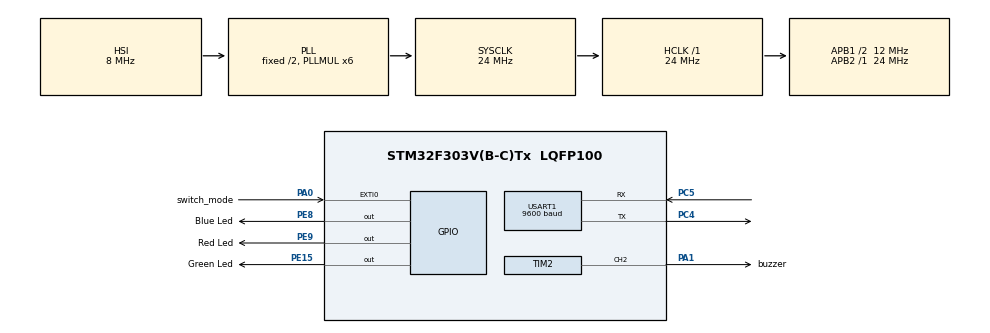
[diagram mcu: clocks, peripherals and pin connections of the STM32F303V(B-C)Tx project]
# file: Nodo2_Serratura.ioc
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Dma.Request0=USART1_RX
Dma.USART1_RX.0.Direction=DMA_PERIPH_TO_MEMORY
Dma.USART1_RX.0.Instance=DMA1_Channel5
Dma.USART1_RX.0.MemDataAlignment=DMA_MDATAALIGN_BYTE
Dma.USART1_RX.0.MemInc=DMA_MINC_ENABLE
Dma.USART1_RX.0.Mode=DMA_NORMAL
Dma.USART1_RX.0.PeriphDataAlignment=DMA_PDATAALIGN_BYTE
Dma.USART1_RX.0.PeriphInc=DMA_PINC_DISABLE
Dma.USART1_RX.0.Priority=DMA_PRIORITY_LOW
Mcu.Family=STM32F3
Mcu.Name=STM32F303V(B-C)Tx
Mcu.Package=LQFP100
NVIC.DMA1_Channel5_IRQn=true\:5\:0\:true\:false\:true\:false\:true\:true
NVIC.EXTI0_IRQn=true\:0\:0\:false\:false\:true\:true\:true\:true
NVIC.PriorityGroup=NVIC_PRIORITYGROUP_4
NVIC.USART1_IRQn=true\:5\:0\:true\:false\:true\:true\:true\:true
PA0.GPIO_Label=switch_mode
PA0.Signal=GPXTI0
PA1.GPIO_Label=buzzer
PA1.Signal=S_TIM2_CH2
PC4.Mode=Asynchronous
PC4.Signal=USART1_TX
PC5.Mode=Asynchronous
PC5.Signal=USART1_RX
PE15.GPIO_Label=Green Led
PE15.Signal=GPIO_Output
PE8.GPIO_Label=Blue Led
PE8.Signal=GPIO_Output
PE9.GPIO_Label=Red Led
PE9.Signal=GPIO_Output
ProjectManager.HeapSize=0x200
ProjectManager.StackSize=0x400
ProjectManager.TargetToolchain=STM32CubeIDE
RCC.AHBFreq_Value=24000000
RCC.APB1CLKDivider=RCC_HCLK_DIV2
RCC.APB1Freq_Value=12000000
RCC.APB1TimFreq_Value=24000000
RCC.APB2Freq_Value=24000000
RCC.APB2TimFreq_Value=24000000
RCC.CortexFreq_Value=24000000
RCC.HCLKFreq_Value=24000000
RCC.HSE_VALUE=8000000
RCC.HSI_VALUE=8000000
RCC.LSE_VALUE=32768
RCC.PLLMUL=RCC_PLL_MUL6
RCC.SYSCLKFreq_VALUE=24000000
RCC.SYSCLKSourceVirtual=RCC_SYSCLKSOURCE_PLLCLK
RCC.USBFreq_Value=24000000
SH.S_TIM2_CH2.0=TIM2_CH2,PWM Generation2 CH2
TIM2.Channel-PWM\ Generation2\ CH2=TIM_CHANNEL_2
TIM2.Period=999
TIM2.Prescaler=23
TIM2.Pulse-PWM\ Generation2\ CH2=499
USART1.BaudRate=9600
USART1.VirtualMode-Asynchronous=VM_ASYNC
VP_CRC_VS_CRC.Mode=CRC_Activate
VP_TIM2_VS_ClockSourceINT.Mode=Internal
board=STM32F3DISCOVERY

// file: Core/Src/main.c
/* USER CODE BEGIN Header */
/**
  ******************************************************************************
  * @file           : main.c
  * @brief          : Main program body
  ******************************************************************************
  * @attention
  *
  * Copyright (c) 2026 STMicroelectronics.
  * All rights reserved.
  *
  * This software is licensed under terms that can be found in the LICENSE file
  * in the root directory of this software component.
  * If no LICENSE file comes with this software, it is provided AS-IS.
  *
  ******************************************************************************
  */
/* USER CODE END Header */
#include "main.h"

/* USER CODE BEGIN Includes */
#include <string.h>
#include <stdio.h>
#include <stdlib.h>
#include "cmox_crypto.h"
/* USER CODE END Includes */

/* USER CODE BEGIN PD */
#define PACKET_SIZE     32
#define AES_BLOCK_SIZE  16
#define CMOX_AES_IMPL CMOX_AES_SMALL

/*
 * Chiave AES-128 condivisa (16 byte).
 * DEVE essere IDENTICA a quella nel Nodo 1.
 */
static const uint8_t shared_key[16] = {
    0x2B, 0x7E, 0x15, 0x16,
    0x28, 0xAE, 0xD2, 0xA6,
    0xAB, 0xF7, 0x15, 0x88,
    0x09, 0xCF, 0x4F, 0x3C
};

/* Stessa costante usata dal Nodo 1 per il sanity-check post-decifratura */
#define CMD_OPEN_WORD  0x4F50454Eul

/* USER CODE END PD */

CRC_HandleTypeDef hcrc;

TIM_HandleTypeDef htim2;

UART_HandleTypeDef huart1;
DMA_HandleTypeDef hdma_usart1_rx;

/* USER CODE BEGIN PV */

uint8_t rx_buffer[PACKET_SIZE + 1]; // Per la Serratura
uint8_t secure_mode = 0;       // 0 = Scenario 1 (Insicuro), 1 = Scenario 2 (Sicuro)
uint32_t last_valid_counter = 0; // Memoria dell'ultimo contatore accettato

volatile uint8_t access_event = 0; // 0=nessuno, 1=corretto, 2=errato

/* Buffer di lavoro interni alla callback (Fase 2) */
static uint8_t ciphertext_bin[AES_BLOCK_SIZE];
static uint8_t decrypted[AES_BLOCK_SIZE];

/* USER CODE END PV */

void SystemClock_Config(void);
static void MX_GPIO_Init(void);
static void MX_DMA_Init(void);
static void MX_USART1_UART_Init(void);
static void MX_TIM2_Init(void);
static void MX_CRC_Init(void);
/* USER CODE BEGIN PFP */
static uint8_t hex_char_to_nibble(char c);
static int hex_to_bytes(const uint8_t *hex_str, uint8_t *out, uint16_t out_len);
/* USER CODE END PFP */

/* USER CODE BEGIN 0 */

/**
  * @brief  Converte un singolo carattere hex ASCII nel suo valore nibble.
  *         Restituisce 0xFF se il carattere non e' hex valido.
  *         Esempi: '0'->0x0, '9'->0x9, 'A'->0xA, 'f'->0xF
  */
static uint8_t hex_char_to_nibble(char c)
{
    if (c >= '0' && c <= '9') return (uint8_t)(c - '0');
    if (c >= 'A' && c <= 'F') return (uint8_t)(c - 'A' + 10);
    if (c >= 'a' && c <= 'f') return (uint8_t)(c - 'a' + 10);
    return 0xFF;
}

/**
  * @brief  Converte una stringa ASCII hex in un array di byte binari.
  * @param  hex_str  Stringa di input (es. "A3F7C2B1..."), 2*out_len caratteri
  * @param  out      Buffer di output
  * @param  out_len  Numero di byte da produrre (= lunghezza stringa / 2)
  * @retval 0 = successo, -1 = carattere non valido trovato
  *
  * Esempio: "A3F7" (4 char) -> {0xA3, 0xF7} (2 byte)
  */
static int hex_to_bytes(const uint8_t *hex_str, uint8_t *out, uint16_t out_len)
{
    for (uint16_t i = 0; i < out_len; i++)
    {
        uint8_t hi = hex_char_to_nibble((char)hex_str[i * 2]);
        uint8_t lo = hex_char_to_nibble((char)hex_str[i * 2 + 1]);

        if (hi == 0xFF || lo == 0xFF)
        {
            return -1;
        }

        out[i] = (uint8_t)((hi << 4) | lo);
    }
    return 0;
}

/* USER CODE END 0 */

int main(void)
{

  /* MCU Configuration--------------------------------------------------------*/

  /* Reset of all peripherals, Initializes the Flash interface and the Systick. */
  HAL_Init();

  /* Configure the system clock */
  SystemClock_Config();

  /* Initialize all configured peripherals */
  MX_GPIO_Init();
  MX_DMA_Init();
  MX_USART1_UART_Init();
  MX_TIM2_Init();
  MX_CRC_Init();
  /* USER CODE BEGIN 2 */

  /*
   * Inizializzazione della libreria X-CUBE-CRYPTOLIB.
   * Deve essere chiamata una sola volta prima di qualsiasi
   * operazione crittografica.
   */
  cmox_initialize(NULL);

  HAL_UART_Receive_DMA(&huart1, rx_buffer, PACKET_SIZE);

  /* USER CODE END 2 */

  /* Infinite loop */
  /* USER CODE BEGIN WHILE */
  while (1)
  {
      /* USER CODE BEGIN WHILE */

      // --- CASO 1: APERTURA AUTORIZZATA ---
	  if (access_event == 1)
	  {
	      access_event = 0; // Resetta immediatamente il flag per non ciclare

	      // Due squilli scattanti sul buzzer (feedback sonoro apertura)
	      for (int i = 0; i < 2; i++)
	      {
	          HAL_TIM_PWM_Start(&htim2, TIM_CHANNEL_2);
	          HAL_Delay(80);  // squillo breve e deciso
	          HAL_TIM_PWM_Stop(&htim2, TIM_CHANNEL_2);
	          HAL_Delay(80);  // pausa tra i due squilli
	      }

	      // Attiva relè → solenoide si sblocca
	      HAL_GPIO_WritePin(Green_Led_GPIO_Port, Green_Led_Pin, GPIO_PIN_SET);

	      // LED Verde ON per 1 secondo (feedback visivo)
	      HAL_GPIO_WritePin(GPIOE, Green_Led_Pin, GPIO_PIN_SET);
	      HAL_Delay(1000);

	      // Disattiva relè → solenoide si richiude
	      HAL_GPIO_WritePin(Green_Led_GPIO_Port, Green_Led_Pin, GPIO_PIN_RESET);
	      HAL_GPIO_WritePin(GPIOE, Green_Led_Pin, GPIO_PIN_RESET);
	  }
      // --- CASO 2: ACCESSO NEGATO / ATTACCO IN CORSO ---
      else if (access_event == 2)
      {
          access_event = 0; // Resetta immediatamente il flag

          // 5 lampeggi LED Rosso + Buzzer passivo sul Canale 2 (PA1)
          for (int i = 0; i < 5; i++)
          {
              HAL_GPIO_WritePin(GPIOE, GPIO_PIN_9, GPIO_PIN_SET);
              HAL_TIM_PWM_Start(&htim2, TIM_CHANNEL_2); // <--- Canale 2 aggiornato!
              HAL_Delay(200); // 200ms acceso per un effetto allarme più dinamico

              HAL_GPIO_WritePin(GPIOE, GPIO_PIN_9, GPIO_PIN_RESET);
              HAL_TIM_PWM_Stop(&htim2, TIM_CHANNEL_2);  // <--- Canale 2 aggiornato!
              HAL_Delay(200); // 200ms spento
          }
      }
    /* USER CODE END WHILE */

  }
}

void SystemClock_Config(void)
{
  RCC_OscInitTypeDef RCC_OscInitStruct = {0};
  RCC_ClkInitTypeDef RCC_ClkInitStruct = {0};
  RCC_PeriphCLKInitTypeDef PeriphClkInit = {0};

  /** Initializes the RCC Oscillators according to the specified parameters
  * in the RCC_OscInitTypeDef structure.
  */
  RCC_OscInitStruct.OscillatorType = RCC_OSCILLATORTYPE_HSI;
  RCC_OscInitStruct.HSIState = RCC_HSI_ON;
  RCC_OscInitStruct.HSICalibrationValue = RCC_HSICALIBRATION_DEFAULT;
  RCC_OscInitStruct.PLL.PLLState = RCC_PLL_ON;
  RCC_OscInitStruct.PLL.PLLSource = RCC_PLLSOURCE_HSI;
  RCC_OscInitStruct.PLL.PLLMUL = RCC_PLL_MUL6;
  if (HAL_RCC_OscConfig(&RCC_OscInitStruct) != HAL_OK)
  {
    Error_Handler();
  }

  /** Initializes the CPU, AHB and APB buses clocks
  */
  RCC_ClkInitStruct.ClockType = RCC_CLOCKTYPE_HCLK|RCC_CLOCKTYPE_SYSCLK
                              |RCC_CLOCKTYPE_PCLK1|RCC_CLOCKTYPE_PCLK2;
  RCC_ClkInitStruct.SYSCLKSource = RCC_SYSCLKSOURCE_PLLCLK;
  RCC_ClkInitStruct.AHBCLKDivider = RCC_SYSCLK_DIV1;
  RCC_ClkInitStruct.APB1CLKDivider = RCC_HCLK_DIV2;
  RCC_ClkInitStruct.APB2CLKDivider = RCC_HCLK_DIV1;

  if (HAL_RCC_ClockConfig(&RCC_ClkInitStruct, FLASH_LATENCY_0) != HAL_OK)
  {
    Error_Handler();
  }
  PeriphClkInit.PeriphClockSelection = RCC_PERIPHCLK_USART1;
  PeriphClkInit.Usart1ClockSelection = RCC_USART1CLKSOURCE_PCLK2;
  if (HAL_RCCEx_PeriphCLKConfig(&PeriphClkInit) != HAL_OK)
  {
    Error_Handler();
  }
}

static void MX_CRC_Init(void)
{

  hcrc.Instance = CRC;
  hcrc.Init.DefaultPolynomialUse = DEFAULT_POLYNOMIAL_ENABLE;
  hcrc.Init.DefaultInitValueUse = DEFAULT_INIT_VALUE_ENABLE;
  hcrc.Init.InputDataInversionMode = CRC_INPUTDATA_INVERSION_NONE;
  hcrc.Init.OutputDataInversionMode = CRC_OUTPUTDATA_INVERSION_DISABLE;
  hcrc.InputDataFormat = CRC_INPUTDATA_FORMAT_BYTES;
  if (HAL_CRC_Init(&hcrc) != HAL_OK)
  {
    Error_Handler();
  }

}

static void MX_TIM2_Init(void)
{

  TIM_ClockConfigTypeDef sClockSourceConfig = {0};
  TIM_MasterConfigTypeDef sMasterConfig = {0};
  TIM_OC_InitTypeDef sConfigOC = {0};

  htim2.Instance = TIM2;
  htim2.Init.Prescaler = 23;
  htim2.Init.CounterMode = TIM_COUNTERMODE_UP;
  htim2.Init.Period = 999;
  htim2.Init.ClockDivision = TIM_CLOCKDIVISION_DIV1;
  htim2.Init.AutoReloadPreload = TIM_AUTORELOAD_PRELOAD_DISABLE;
  if (HAL_TIM_Base_Init(&htim2) != HAL_OK)
  {
    Error_Handler();
  }
  sClockSourceConfig.ClockSource = TIM_CLOCKSOURCE_INTERNAL;
  if (HAL_TIM_ConfigClockSource(&htim2, &sClockSourceConfig) != HAL_OK)
  {
    Error_Handler();
  }
  if (HAL_TIM_PWM_Init(&htim2) != HAL_OK)
  {
    Error_Handler();
  }
  sMasterConfig.MasterOutputTrigger = TIM_TRGO_RESET;
  sMasterConfig.MasterSlaveMode = TIM_MASTERSLAVEMODE_DISABLE;
  if (HAL_TIMEx_MasterConfigSynchronization(&htim2, &sMasterConfig) != HAL_OK)
  {
    Error_Handler();
  }
  sConfigOC.OCMode = TIM_OCMODE_PWM1;
  sConfigOC.Pulse = 499;
  sConfigOC.OCPolarity = TIM_OCPOLARITY_HIGH;
  sConfigOC.OCFastMode = TIM_OCFAST_DISABLE;
  if (HAL_TIM_PWM_ConfigChannel(&htim2, &sConfigOC, TIM_CHANNEL_2) != HAL_OK)
  {
    Error_Handler();
  }
  HAL_TIM_MspPostInit(&htim2);

}

static void MX_USART1_UART_Init(void)
{

  huart1.Instance = USART1;
  huart1.Init.BaudRate = 9600;
  huart1.Init.WordLength = UART_WORDLENGTH_8B;
  huart1.Init.StopBits = UART_STOPBITS_1;
  huart1.Init.Parity = UART_PARITY_NONE;
  huart1.Init.Mode = UART_MODE_TX_RX;
  huart1.Init.HwFlowCtl = UART_HWCONTROL_NONE;
  huart1.Init.OverSampling = UART_OVERSAMPLING_16;
  huart1.Init.OneBitSampling = UART_ONE_BIT_SAMPLE_DISABLE;
  huart1.AdvancedInit.AdvFeatureInit = UART_ADVFEATURE_NO_INIT;
  if (HAL_UART_Init(&huart1) != HAL_OK)
  {
    Error_Handler();
  }

}

static void MX_DMA_Init(void)
{

  /* DMA controller clock enable */
  __HAL_RCC_DMA1_CLK_ENABLE();

  /* DMA interrupt init */
  /* DMA1_Channel5_IRQn interrupt configuration */
  HAL_NVIC_SetPriority(DMA1_Channel5_IRQn, 5, 0);
  HAL_NVIC_EnableIRQ(DMA1_Channel5_IRQn);

}

static void MX_GPIO_Init(void)
{
  GPIO_InitTypeDef GPIO_InitStruct = {0};

  /* GPIO Ports Clock Enable */
  __HAL_RCC_GPIOA_CLK_ENABLE();
  __HAL_RCC_GPIOC_CLK_ENABLE();
  __HAL_RCC_GPIOE_CLK_ENABLE();

  /*Configure GPIO pin Output Level */
  HAL_GPIO_WritePin(GPIOE, Blue_Led_Pin|Red_Led_Pin|Green_Led_Pin, GPIO_PIN_RESET);

  /*Configure GPIO pin : switch_mode_Pin */
  GPIO_InitStruct.Pin = switch_mode_Pin;
  GPIO_InitStruct.Mode = GPIO_MODE_IT_RISING;
  GPIO_InitStruct.Pull = GPIO_NOPULL;
  HAL_GPIO_Init(switch_mode_GPIO_Port, &GPIO_InitStruct);

  /*Configure GPIO pins : Blue_Led_Pin Red_Led_Pin Green_Led_Pin */
  GPIO_InitStruct.Pin = Blue_Led_Pin|Red_Led_Pin|Green_Led_Pin;
  GPIO_InitStruct.Mode = GPIO_MODE_OUTPUT_PP;
  GPIO_InitStruct.Pull = GPIO_NOPULL;
  GPIO_InitStruct.Speed = GPIO_SPEED_FREQ_LOW;
  HAL_GPIO_Init(GPIOE, &GPIO_InitStruct);

  /* EXTI interrupt init*/
  HAL_NVIC_SetPriority(EXTI0_IRQn, 0, 0);
  HAL_NVIC_EnableIRQ(EXTI0_IRQn);

}

/* USER CODE BEGIN 4 */
void HAL_GPIO_EXTI_Callback(uint16_t GPIO_Pin)
{
    if (GPIO_Pin == GPIO_PIN_0)
    {
        uint32_t now = HAL_GetTick();
        static uint32_t last_press = 0;

        if ((now - last_press) < 200) return;
        last_press = now;

        secure_mode = !secure_mode;

        /*
         * Al cambio di modalita' azzera il contatore di riferimento.
         * Questo e' necessario perche' il Nodo 1 resetta key_counter
         * al suo switch: i due nodi devono ripartire da zero insieme.
         */
        last_valid_counter = 0;

        HAL_GPIO_TogglePin(GPIOE, GPIO_PIN_8);
    }
}

void HAL_UART_RxCpltCallback(UART_HandleTypeDef *huart)
{
    if (huart->Instance == USART1)
    {
        // 1. Il comando base è corretto?
        if (strstr((char*)rx_buffer, "OPEN:1234") != NULL)
        {
            // --- SCENARIO 1: SISTEMA IN CHIARO / VULNERABILE ---
            if (secure_mode == 0)
            {
                access_event = 1; // Apri sempre, ignora il contatore!
            }
            // --- SCENARIO 2: SISTEMA SICURO CON ROLLING CODE ---
            else
            {
                uint32_t received_counter = 0;
                char *cnt_ptr = strstr((char*)rx_buffer, ":CNT:");

                if (cnt_ptr != NULL)
                {
                    received_counter = strtoul(cnt_ptr + 5, NULL, 10);
                }

                // Verifica del contatore rolling code
                if (received_counter > last_valid_counter)
                {
                    last_valid_counter = received_counter; // Aggiorna la memoria
                    access_event = 1;                      // Accesso Consentito!
                }
                else
                {
                    access_event = 2; // REPLAY ATTACK RILEVATO! (Contatore vecchio o doppio)
                }
            }
        }
        else
        {
            /* ── FASE 2: pacchetto cifrato ───────────────────────────────
             *
             * Il pacchetto non contiene "OPEN:1234" in chiaro: e' un
             * pacchetto cifrato con AES-128-ECB proveniente dalla Fase 2
             * del Nodo 1. Viene elaborato solo se secure_mode == 1.
             * Se secure_mode == 0 e arriva un pacchetto cifrato, e' errato.
             */
            if (secure_mode == 0)
            {
                access_event = 2;
                goto rearm_dma;
            }

            /* STEP 1 — decodifica hex ASCII -> binario:
             * rx_buffer contiene 32 caratteri ASCII (es. "A3F7C2B1...").
             * hex_to_bytes() li converte nei 16 byte binari cifrati.
             */
            if (hex_to_bytes(rx_buffer, ciphertext_bin, AES_BLOCK_SIZE) != 0)
            {
                access_event = 2;
                goto rearm_dma;
            }

            /* STEP 2 — decifratura AES-128-ECB:
             * Stessa chiave del Nodo 1. Produce 16 byte di plaintext.
             */
            size_t output_len = 0;
            cmox_cipher_retval_t retval = cmox_cipher_decrypt(
                CMOX_AESFAST_ECB_DEC_ALGO, // Il nuovo identificativo dell'algoritmo di decifratura
                ciphertext_bin,            // Buffer con i 16 byte cifrati ricevuti
                AES_BLOCK_SIZE,            // Lunghezza dei dati cifrati (16 byte)
                shared_key,                // La tua chiave AES (deve essere identica a quella del Nodo 1)
                16,                        // Dimensione della chiave espressa in byte (16)
                NULL,                      // IV (Impostato a NULL per ECB)
                0,                         // Lunghezza dell'IV (0)
                decrypted,                 // Buffer in cui salvare il testo in chiaro decifrato
                &output_len                // Variabile che conterrà il numero di byte scritti
            );

            if (retval != CMOX_CIPHER_SUCCESS)
            {
                access_event = 2;
                goto rearm_dma;
            }

            /* STEP 3 — sanity-check sul campo "command" (byte 4..7):
             * Verifica che il plaintext decifrato contenga CMD_OPEN_WORD.
             * Se la chiave fosse sbagliata o il pacchetto corrotto,
             * questo confronto fallirebbe.
             */
            uint32_t received_cmd =
                ((uint32_t)decrypted[4] << 24) |
                ((uint32_t)decrypted[5] << 16) |
                ((uint32_t)decrypted[6] <<  8) |
                ((uint32_t)decrypted[7]);

            if (received_cmd != CMD_OPEN_WORD)
            {
                access_event = 2;
                goto rearm_dma;
            }

            /* STEP 4 — estrazione del counter (byte 0..3, little-endian) */
            uint32_t received_counter =
                ((uint32_t)decrypted[0])       |
                ((uint32_t)decrypted[1] <<  8) |
                ((uint32_t)decrypted[2] << 16) |
                ((uint32_t)decrypted[3] << 24);

            /* STEP 5 — Rolling Code check:
             * Il contatore e' valido solo se strettamente maggiore
             * dell'ultimo accettato. Uguale o minore = Replay Attack.
             */
            if (received_counter > last_valid_counter)
            {
                last_valid_counter = received_counter;
                access_event = 1; // Accesso Consentito!
            }
            else
            {
                access_event = 2; // REPLAY ATTACK RILEVATO!
            }
        }

rearm_dma:
        // Pulisci e riarma il DMA immediatamente
        memset(rx_buffer, 0, sizeof(rx_buffer));
        HAL_UART_Receive_DMA(huart, rx_buffer, PACKET_SIZE);
    }
}
/* USER CODE END 4 */

void Error_Handler(void)
{
  __disable_irq();
  while (1)
  {
  }
}
